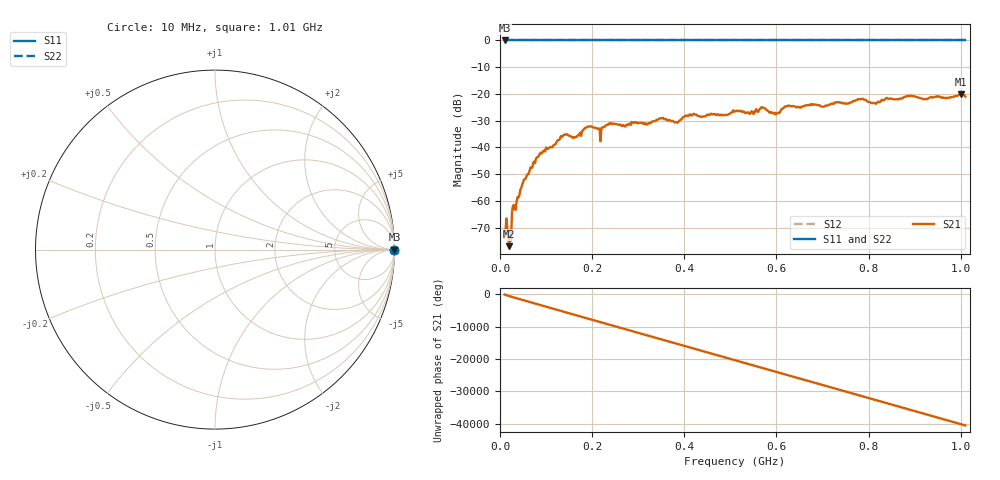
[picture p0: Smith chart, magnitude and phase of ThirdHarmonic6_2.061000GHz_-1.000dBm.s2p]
! 8/17/2025 12:42:02 AM
! C:\ANRITSUVNA\TEMP\TEMP.S2P
! CHANNEL.1
! TR.MEASUREMENT
! RAW.DATA
! RF.CORRECTION.OFF
! AVERAGING.OFF
! IF.BANDWIDTH: 5KHZ
! SWEEPTYPE:  FREQ.SWEEP(Linear)
! Reference Plane Port Info
! PORT:  PORT1  PORT2
! DISTANCE:  0  m  0  m
! TIME:  0  s  0  s
! PHASE.OFFSET:  0  deg.  0  deg.
! LOSS:  0  dB  0  dB
! REF.LOSS:  0  dB  0  dB
! REF.FREQ:  0  Hz  0  Hz
! Power Info
! POWER:  -20  dBm  -20  dBm
! EFF.POWER:  -20  dBm  -20  dBm
! SOURCE.ATTEN:  0  dB  0  dB
! TEST.ATTEN:  0  dB  0  dB
# GHZ S RI R 50.0
! FREQ.GHZ  S11RE  S11IM  S21RE  S21IM  S12RE  S12IM  S22RE  S22IM
!; PortSelection: Port_12
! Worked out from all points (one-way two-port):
!   501 points, 10 MHz to 1.01 GHz, reference 50 ohm
!   highest |S21| = -20.09 dB at 1 GHz (marker M1); lowest = -76.9 dB at 20 MHz (marker M2)
!   lowest |S11| = 0.0 dB at 10 MHz (marker M3)
!   |S11| at or under -10 dB: nowhere
!   |S22| runs from 0.0 to 0.0 dB; largest |S21 - S12| = 1.1
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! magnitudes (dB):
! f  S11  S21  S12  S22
! 10 MHz  0.0  -73.7  0.0  0.0
! 20 MHz  0.0  -76.9  0.0  0.0
! 30 MHz  0.0  -61.5  0.0  0.0
! 48 MHz  0.0  -54.0  0.0  0.0
! 82 MHz  0.0  -43.6  0.0  0.0
! 136 MHz  0.0  -35.8  0.0  0.0
! 162 MHz  0.0  -36.3  0.0  0.0
! 178 MHz  0.0  -34.1  0.0  0.0
! 194 MHz  0.0  -32.2  0.0  0.0
! 216 MHz  0.0  -32.9  0.0  0.0
! 240 MHz  0.0  -31.1  0.0  0.0
! 344 MHz  0.0  -29.5  0.0  0.0
! 382 MHz  0.0  -30.5  0.0  0.0
! 416 MHz  0.0  -28.1  0.0  0.0
! 510 MHz  0.0  -26.5  0.0  0.0
! 570 MHz  0.0  -25.1  0.0  0.0
! 602 MHz  0.0  -27.1  0.0  0.0
! 622 MHz  0.0  -24.7  0.0  0.0
! 678 MHz  0.0  -24.1  0.0  0.0
! 844 MHz  0.0  -21.9  0.0  0.0
! 1 GHz  0.0  -20.1  0.0  0.0
! 1.01 GHz  0.0  -21.0  0.0  0.0
